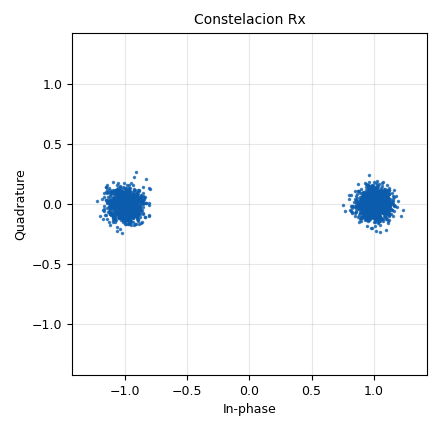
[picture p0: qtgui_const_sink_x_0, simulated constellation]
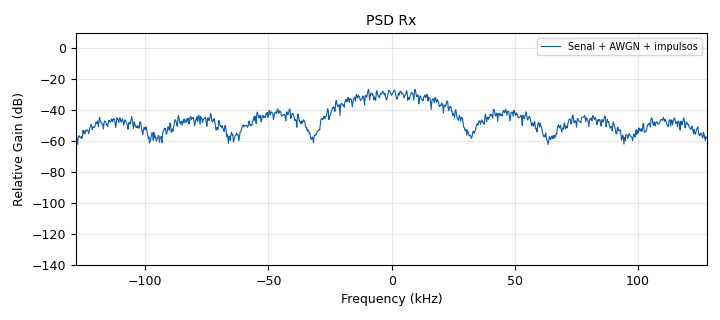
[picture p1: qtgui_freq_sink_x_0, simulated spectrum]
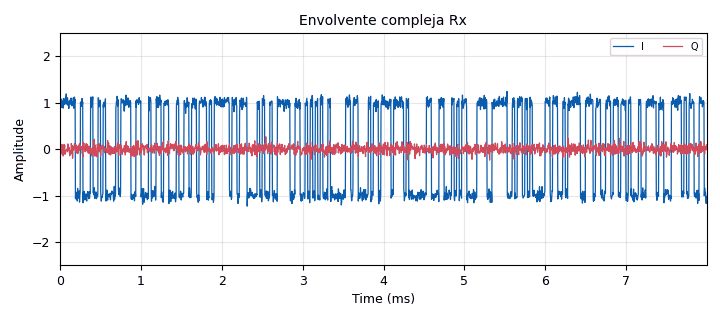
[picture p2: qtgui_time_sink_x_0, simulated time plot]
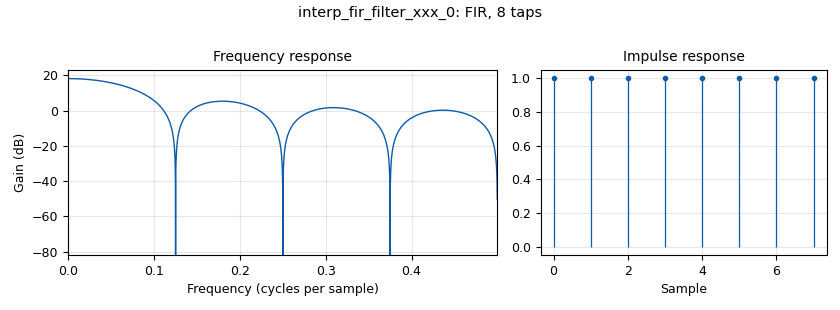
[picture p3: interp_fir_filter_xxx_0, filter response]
options:
  parameters:
    author: Grupo 1
    comment: 'Copia de Modulaciones_basadas_en_constelaciones_AWGN.grc. Escenario S1: BPSK + AWGN fijo (noise_amp=0.10) + tren periodico de impulsos (1 cada 256 muestras).'
    description: S1 Telemetria industrial - BPSK con AWGN y ruido impulsivo controlado
    generate_options: qt_gui
    id: Enlace_Beta_Impulsivo_Grupo1
    output_language: python
    title: Enlace_Beta_Impulsivo_Grupo1
  states: {}

blocks:
- name: A_imp
  id: variable_qtgui_range
  parameters:
    comment: Variable del experimento. Prueba A=0 (referencia), B=0.3 (suave), C=0.6 (media), D=1.0 (fuerte).
    label: Amplitud del impulso A_imp
    start: '0'
    step: '0.1'
    stop: '1.0'
    value: '0'
  states: {}
- name: M
  id: variable
  parameters:
    value: len(tabla_de_verdad_constelacion)
  states: {}
- name: Rb
  id: variable
  parameters:
    value: Rs*bps
  states: {}
- name: Rs
  id: variable
  parameters:
    value: '32000'
  states: {}
- name: Sps
  id: variable
  parameters:
    value: '8'
  states: {}
- name: bps
  id: variable
  parameters:
    value: int(math.log(M,2))
  states: {}
- name: h
  id: variable
  parameters:
    value: '[1]*Sps'
  states: {}
- name: noise_amp
  id: variable_qtgui_range
  parameters:
    comment: Se mantiene fijo en 0.10 en las cuatro pruebas.
    label: Amplitud de ruido AWGN
    start: '0'
    step: '0.01'
    stop: '0.5'
    value: '0.10'
  states: {}
- name: periodo_imp
  id: variable
  parameters:
    comment: Un impulso cada 256 muestras (= 32 simbolos = 1 ms a 256 kS/s).
    value: '256'
  states: {}
- name: samp_rate
  id: variable
  parameters:
    value: Rs*Sps
  states: {}
- name: tabla_de_verdad_constelacion
  id: variable
  parameters:
    comment: BPSK (antes OOK)
    value: (-1+0j, 1+0j)
  states: {}
- name: analog_noise_source_x_0
  id: analog_noise_source_x
  parameters:
    amp: noise_amp
    noise_type: analog.GR_GAUSSIAN
    seed: '0'
    type: complex
  states: {}
- name: analog_random_source_x_0
  id: analog_random_source_x
  parameters:
    max: '2'
    min: '0'
    num_samps: '1000'
    repeat: 'True'
    type: byte
  states: {}
- name: blocks_add_xx_0
  id: blocks_add_xx
  parameters:
    comment: 'Add original: senal + AWGN'
    type: complex
  states: {}
- name: blocks_add_xx_1
  id: blocks_add_xx
  parameters:
    comment: 'Segundo Add: (senal + AWGN) + impulsos'
    type: complex
  states: {}
- name: blocks_pack_k_bits_bb_0
  id: blocks_pack_k_bits_bb
  parameters:
    k: '8'
  states: {}
- name: blocks_packed_to_unpacked_xx_0
  id: blocks_packed_to_unpacked_xx
  parameters:
    bits_per_chunk: bps
    endianness: gr.GR_MSB_FIRST
    type: byte
  states: {}
- name: blocks_vector_source_x_0
  id: blocks_vector_source_x
  parameters:
    comment: 'Tren de impulsos: 255 ceros y un impulso de amplitud A_imp, repetido.'
    repeat: 'True'
    type: complex
    vector: '[0j]*(periodo_imp-1) + [complex(A_imp, 0)]'
  states: {}
- name: digital_chunks_to_symbols_xx_0
  id: digital_chunks_to_symbols_xx
  parameters:
    dimension: '1'
    in_type: byte
    out_type: complex
    symbol_table: tabla_de_verdad_constelacion
  states: {}
- name: import_0
  id: import
  parameters:
    imports: import math
  states: {}
- name: interp_fir_filter_xxx_0
  id: interp_fir_filter_xxx
  parameters:
    interp: Sps
    taps: h
    type: ccf
  states: {}
- name: qtgui_const_sink_x_0
  id: qtgui_const_sink_x
  parameters:
    autoscale: 'True'
    grid: 'True'
    label1: '"Senal + AWGN + impulsos"'
    legend: 'False'
    name: '"Constelacion Rx"'
    size: '2048'
    type: complex
  states: {}
- name: qtgui_freq_sink_x_0
  id: qtgui_freq_sink_x
  parameters:
    average: '0.2'
    bw: samp_rate
    fc: '0'
    fftsize: '1024'
    grid: 'True'
    label1: Senal + AWGN + impulsos
    name: '"PSD Rx"'
    type: complex
  states: {}
- name: qtgui_time_sink_x_0
  id: qtgui_time_sink_x
  parameters:
    grid: 'True'
    label1: I
    label2: Q
    name: '"Envolvente compleja Rx"'
    size: '2048'
    srate: samp_rate
    type: complex
    ymax: '2.5'
    ymin: '-2.5'
  states: {}
- name: throttle_0
  id: blocks_throttle2
  parameters:
    samples_per_second: samp_rate
    type: complex
  states: {}

connections:
- [analog_noise_source_x_0, '0', blocks_add_xx_0, '1']
- [analog_random_source_x_0, '0', blocks_pack_k_bits_bb_0, '0']
- [blocks_add_xx_0, '0', blocks_add_xx_1, '0']
- [blocks_add_xx_1, '0', qtgui_const_sink_x_0, '0']
- [blocks_add_xx_1, '0', qtgui_freq_sink_x_0, '0']
- [blocks_add_xx_1, '0', qtgui_time_sink_x_0, '0']
- [blocks_pack_k_bits_bb_0, '0', blocks_packed_to_unpacked_xx_0, '0']
- [blocks_packed_to_unpacked_xx_0, '0', digital_chunks_to_symbols_xx_0, '0']
- [blocks_vector_source_x_0, '0', blocks_add_xx_1, '1']
- [digital_chunks_to_symbols_xx_0, '0', interp_fir_filter_xxx_0, '0']
- [interp_fir_filter_xxx_0, '0', throttle_0, '0']
- [throttle_0, '0', blocks_add_xx_0, '0']

metadata:
  file_format: 1
  grc_version: 3.10.12.0
